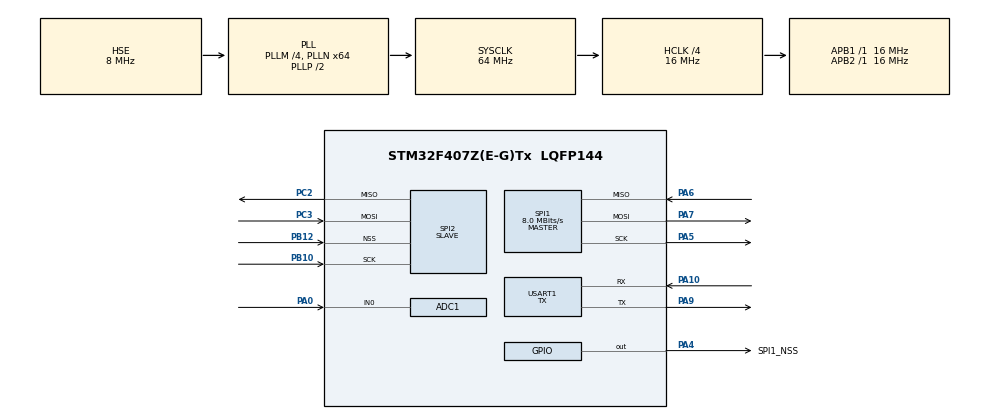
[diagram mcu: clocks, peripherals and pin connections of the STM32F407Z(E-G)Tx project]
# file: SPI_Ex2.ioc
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ADC1.Channel-0\#ChannelRegularConversion=ADC_CHANNEL_0
ADC1.ClockPrescaler=ADC_CLOCK_SYNC_PCLK_DIV2
ADC1.ExternalTrigConv=ADC_EXTERNALTRIGCONV_T8_TRGO
ADC1.NbrOfConversion=1
ADC1.NbrOfConversionFlag=1
ADC1.Rank-0\#ChannelRegularConversion=1
ADC1.SamplingTime-0\#ChannelRegularConversion=ADC_SAMPLETIME_28CYCLES
ADC1.master=1
Mcu.Family=STM32F4
Mcu.Name=STM32F407Z(E-G)Tx
Mcu.Package=LQFP144
NVIC.ADC_IRQn=true\:0\:0\:false\:false\:true\:true\:true\:true
NVIC.PriorityGroup=NVIC_PRIORITYGROUP_4
NVIC.SPI2_IRQn=true\:0\:0\:false\:false\:true\:true\:true\:true
PA0-WKUP.Signal=ADCx_IN0
PA10.Mode=Asynchronous
PA10.Signal=USART1_RX
PA13.Mode=Serial_Wire
PA13.Signal=SYS_JTMS-SWDIO
PA14.Mode=Serial_Wire
PA14.Signal=SYS_JTCK-SWCLK
PA4.GPIO_Label=SPI1_NSS
PA4.GPIO_Speed=GPIO_SPEED_FREQ_HIGH
PA4.PinState=GPIO_PIN_SET
PA4.Signal=GPIO_Output
PA5.Mode=Full_Duplex_Master
PA5.Signal=SPI1_SCK
PA6.Mode=Full_Duplex_Master
PA6.Signal=SPI1_MISO
PA7.Mode=Full_Duplex_Master
PA7.Signal=SPI1_MOSI
PA9.Mode=Asynchronous
PA9.Signal=USART1_TX
PB10.Mode=Full_Duplex_Slave
PB10.Signal=SPI2_SCK
PB12.Mode=NSS_Signal_Hard_Input
PB12.Signal=SPI2_NSS
PC2.Mode=Full_Duplex_Slave
PC2.Signal=SPI2_MISO
PC3.Mode=Full_Duplex_Slave
PC3.Signal=SPI2_MOSI
PH0-OSC_IN.Mode=HSE-External-Oscillator
PH0-OSC_IN.Signal=RCC_OSC_IN
PH1-OSC_OUT.Mode=HSE-External-Oscillator
PH1-OSC_OUT.Signal=RCC_OSC_OUT
ProjectManager.HeapSize=0x200
ProjectManager.StackSize=0x400
ProjectManager.TargetToolchain=EWARM V8.50
RCC.48MHZClocksFreq_Value=32000000
RCC.AHBCLKDivider=RCC_SYSCLK_DIV4
RCC.AHBFreq_Value=16000000
RCC.APB1Freq_Value=16000000
RCC.APB1TimFreq_Value=16000000
RCC.APB2Freq_Value=16000000
RCC.APB2TimFreq_Value=16000000
RCC.CortexFreq_Value=16000000
RCC.HCLKFreq_Value=16000000
RCC.HSE_VALUE=8000000
RCC.HSI_VALUE=16000000
RCC.LSE_VALUE=32768
RCC.PLLM=4
RCC.PLLN=64
RCC.PLLSourceVirtual=RCC_PLLSOURCE_HSE
RCC.SYSCLKFreq_VALUE=64000000
RCC.SYSCLKSource=RCC_SYSCLKSOURCE_PLLCLK
RCC.VCOOutputFreq_Value=128000000
SH.ADCx_IN0.0=ADC1_IN0,IN0
SPI1.CalculateBaudRate=8.0 MBits/s
SPI1.Direction=SPI_DIRECTION_2LINES
SPI1.Mode=SPI_MODE_MASTER
SPI1.VirtualType=VM_MASTER
SPI2.CLKPhase=SPI_PHASE_2EDGE
SPI2.CLKPolarity=SPI_POLARITY_HIGH
SPI2.Direction=SPI_DIRECTION_2LINES
SPI2.Mode=SPI_MODE_SLAVE
SPI2.VirtualNSS=VM_NSSHARD
SPI2.VirtualType=VM_SLAVE
TIM8.Period=999
TIM8.Prescaler=15999
TIM8.TIM_MasterOutputTrigger=TIM_TRGO_UPDATE
USART1.Mode=MODE_TX
USART1.VirtualMode=VM_ASYNC
VP_TIM8_VS_ClockSourceINT.Mode=Internal
board=custom

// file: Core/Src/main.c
/* USER CODE BEGIN Header */
/**
  ******************************************************************************
  * @file           : main.c
  * @brief          : Main program body
  ******************************************************************************
  * @attention
  *
  * Copyright (c) 2024 STMicroelectronics.
  * All rights reserved.
  *
  * This software is licensed under terms that can be found in the LICENSE file
  * in the root directory of this software component.
  * If no LICENSE file comes with this software, it is provided AS-IS.
  *
  ******************************************************************************
  */
/* USER CODE END Header */
#include "main.h"
#include "adc.h"
#include "spi.h"
#include "tim.h"
#include "usart.h"
#include "gpio.h"

/* USER CODE BEGIN Includes */
#include "stdio.h"
#include "string.h"

/* USER CODE END Includes */

/* USER CODE BEGIN PV */
uint8_t spiRxCmd = 0, spiRxFlag = 0;
uint8_t spiRxBuffer[2];
uint8_t spiTxBuffer[2];
volatile uint8_t adcRawValue[2];
/* USER CODE END PV */

void SystemClock_Config(void);

int main(void)
{

  /* USER CODE BEGIN 1 */
  uint16_t adcValue = 0;
  char serialBuffer[40];
  /* USER CODE END 1 */

  /* MCU Configuration--------------------------------------------------------*/

  /* Reset of all peripherals, Initializes the Flash interface and the Systick. */
  HAL_Init();

  /* Configure the system clock */
  SystemClock_Config();

  /* Initialize all configured peripherals */
  MX_GPIO_Init();
  MX_SPI1_Init();
  MX_USART1_UART_Init();
  MX_ADC1_Init();
  MX_SPI2_Init();
  MX_TIM8_Init();
  /* USER CODE BEGIN 2 */
  HAL_TIM_Base_Start(&htim8);
  HAL_ADC_Start_IT(&hadc1);
  HAL_SPI_Transmit_IT(&hspi2, (uint8_t *)adcRawValue, 2);
  /* USER CODE END 2 */

  /* Infinite loop */
  /* USER CODE BEGIN WHILE */
  while (1)
  {
      if(spiRxCmd)      // spiRxCmd is activated every second by the SysTick timer.
      {
        spiRxCmd = 0;
        HAL_GPIO_WritePin(GPIOA, GPIO_PIN_4, GPIO_PIN_RESET);
        HAL_SPI_TransmitReceive_IT(&hspi1, spiTxBuffer, spiRxBuffer, 2);  // The master does not send any meaningful data to the slave.
      }

    if(spiRxFlag)
    {
      spiRxFlag = 0;
      adcValue = ((spiRxBuffer[0]<<8) + spiRxBuffer[1])*3300/4095;
      sprintf(serialBuffer, "Voltage: %d mV \r\n", adcValue);
      HAL_UART_Transmit(&huart1, (uint8_t *) serialBuffer, strlen(serialBuffer), 10);
    }

   }
    /* USER CODE END WHILE */

}

void SystemClock_Config(void)
{
  RCC_OscInitTypeDef RCC_OscInitStruct = {0};
  RCC_ClkInitTypeDef RCC_ClkInitStruct = {0};

  /** Configure the main internal regulator output voltage
  */
  __HAL_RCC_PWR_CLK_ENABLE();
  __HAL_PWR_VOLTAGESCALING_CONFIG(PWR_REGULATOR_VOLTAGE_SCALE1);

  /** Initializes the RCC Oscillators according to the specified parameters
  * in the RCC_OscInitTypeDef structure.
  */
  RCC_OscInitStruct.OscillatorType = RCC_OSCILLATORTYPE_HSE;
  RCC_OscInitStruct.HSEState = RCC_HSE_ON;
  RCC_OscInitStruct.PLL.PLLState = RCC_PLL_ON;
  RCC_OscInitStruct.PLL.PLLSource = RCC_PLLSOURCE_HSE;
  RCC_OscInitStruct.PLL.PLLM = 4;
  RCC_OscInitStruct.PLL.PLLN = 64;
  RCC_OscInitStruct.PLL.PLLP = RCC_PLLP_DIV2;
  RCC_OscInitStruct.PLL.PLLQ = 4;
  if (HAL_RCC_OscConfig(&RCC_OscInitStruct) != HAL_OK)
  {
    Error_Handler();
  }

  /** Initializes the CPU, AHB and APB buses clocks
  */
  RCC_ClkInitStruct.ClockType = RCC_CLOCKTYPE_HCLK|RCC_CLOCKTYPE_SYSCLK
                              |RCC_CLOCKTYPE_PCLK1|RCC_CLOCKTYPE_PCLK2;
  RCC_ClkInitStruct.SYSCLKSource = RCC_SYSCLKSOURCE_PLLCLK;
  RCC_ClkInitStruct.AHBCLKDivider = RCC_SYSCLK_DIV4;
  RCC_ClkInitStruct.APB1CLKDivider = RCC_HCLK_DIV1;
  RCC_ClkInitStruct.APB2CLKDivider = RCC_HCLK_DIV1;

  if (HAL_RCC_ClockConfig(&RCC_ClkInitStruct, FLASH_LATENCY_0) != HAL_OK)
  {
    Error_Handler();
  }
}

void Error_Handler(void)
{
  __disable_irq();
  while (1)
  {
  }
}
